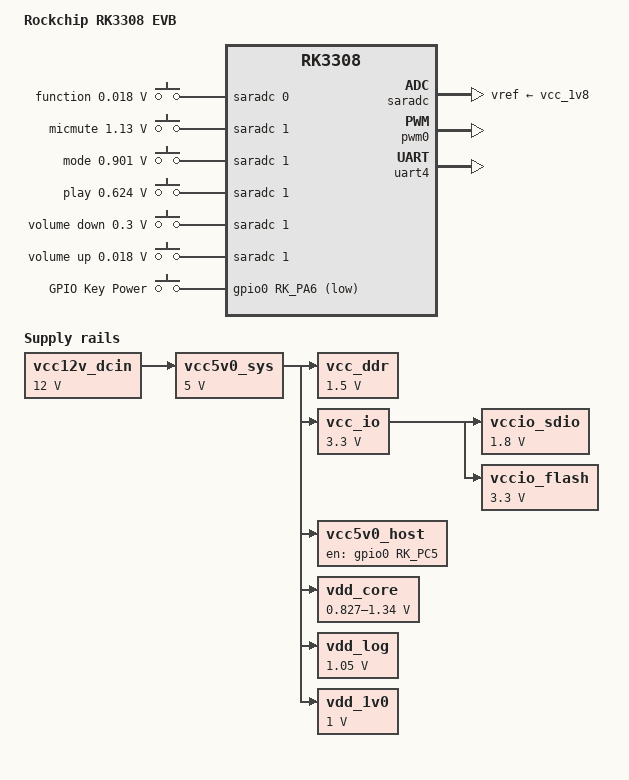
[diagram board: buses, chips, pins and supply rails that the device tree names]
// SPDX-License-Identifier: (GPL-2.0+ OR MIT)
/*
 * Copyright (c) 2019 Fuzhou Rockchip Electronics Co., Ltd
 *
 */

/dts-v1/;
#include <dt-bindings/input/input.h>
#include "rk3308.dtsi"

/ {
	model = "Rockchip RK3308 EVB";
	compatible = "rockchip,rk3308-evb", "rockchip,rk3308";

	chosen {
		stdout-path = "serial4:1500000n8";
	};

	adc-keys0 {
		compatible = "adc-keys";
		io-channels = <&saradc 0>;
		io-channel-names = "buttons";
		poll-interval = <100>;
		keyup-threshold-microvolt = <1800000>;

		func-key {
			linux,code = <KEY_FN>;
			label = "function";
			press-threshold-microvolt = <18000>;
		};
	};

	adc-keys1 {
		compatible = "adc-keys";
		io-channels = <&saradc 1>;
		io-channel-names = "buttons";
		poll-interval = <100>;
		keyup-threshold-microvolt = <1800000>;

		esc-key {
			linux,code = <KEY_MICMUTE>;
			label = "micmute";
			press-threshold-microvolt = <1130000>;
		};

		home-key {
			linux,code = <KEY_MODE>;
			label = "mode";
			press-threshold-microvolt = <901000>;
		};

		menu-key {
			linux,code = <KEY_PLAY>;
			label = "play";
			press-threshold-microvolt = <624000>;
		};

		vol-down-key {
			linux,code = <KEY_VOLUMEDOWN>;
			label = "volume down";
			press-threshold-microvolt = <300000>;
		};

		vol-up-key {
			linux,code = <KEY_VOLUMEUP>;
			label = "volume up";
			press-threshold-microvolt = <18000>;
		};
	};

	gpio-keys {
		compatible = "gpio-keys";
		autorepeat;

		pinctrl-names = "default";
		pinctrl-0 = <&pwr_key>;

		power {
			gpios = <&gpio0 RK_PA6 GPIO_ACTIVE_LOW>;
			linux,code = <KEY_POWER>;
			label = "GPIO Key Power";
			debounce-interval = <100>;
			wakeup-source;
		};
	};

	vcc12v_dcin: vcc12v-dcin {
		compatible = "regulator-fixed";
		regulator-name = "vcc12v_dcin";
		regulator-min-microvolt = <12000000>;
		regulator-max-microvolt = <12000000>;
		regulator-always-on;
		regulator-boot-on;
	};

	vcc5v0_sys: vcc5v0-sys {
		compatible = "regulator-fixed";
		regulator-name = "vcc5v0_sys";
		regulator-min-microvolt = <5000000>;
		regulator-max-microvolt = <5000000>;
		regulator-always-on;
		regulator-boot-on;
		vin-supply = <&vcc12v_dcin>;
	};

	vccio_sdio: vcc_1v8: vcc-1v8 {
		compatible = "regulator-fixed";
		regulator-name = "vcc_1v8";
		regulator-min-microvolt = <1800000>;
		regulator-max-microvolt = <1800000>;
		regulator-always-on;
		regulator-boot-on;
		vin-supply = <&vcc_io>;
	};

	vcc_ddr: vcc-ddr {
		compatible = "regulator-fixed";
		regulator-name = "vcc_ddr";
		regulator-min-microvolt = <1500000>;
		regulator-max-microvolt = <1500000>;
		regulator-always-on;
		regulator-boot-on;
		vin-supply = <&vcc5v0_sys>;
	};

	vcc_io: vcc-io {
		compatible = "regulator-fixed";
		regulator-name = "vcc_io";
		regulator-min-microvolt = <3300000>;
		regulator-max-microvolt = <3300000>;
		regulator-always-on;
		regulator-boot-on;
		vin-supply = <&vcc5v0_sys>;
	};

	vccio_flash: vccio-flash {
		compatible = "regulator-fixed";
		regulator-name = "vccio_flash";
		regulator-min-microvolt = <3300000>;
		regulator-max-microvolt = <3300000>;
		regulator-always-on;
		regulator-boot-on;
		vin-supply = <&vcc_io>;
	};

	vcc5v0_host: vcc5v0-host {
		compatible = "regulator-fixed";
		gpio = <&gpio0 RK_PC5 GPIO_ACTIVE_HIGH>;
		enable-active-high;
		pinctrl-names = "default";
		pinctrl-0 = <&usb_drv>;
		regulator-name = "vbus_host";
		vin-supply = <&vcc5v0_sys>;
	};

	vdd_core: vdd-core {
		compatible = "pwm-regulator";
		pwms = <&pwm0 0 5000 1>;
		regulator-name = "vdd_core";
		regulator-min-microvolt = <827000>;
		regulator-max-microvolt = <1340000>;
		regulator-always-on;
		regulator-boot-on;
		regulator-settling-time-up-us = <250>;
		pwm-supply = <&vcc5v0_sys>;
	};

	vdd_log: vdd-log {
		compatible = "regulator-fixed";
		regulator-name = "vdd_log";
		regulator-min-microvolt = <1050000>;
		regulator-max-microvolt = <1050000>;
		regulator-always-on;
		regulator-boot-on;
		vin-supply = <&vcc5v0_sys>;
	};

	vdd_1v0: vdd-1v0 {
		compatible = "regulator-fixed";
		regulator-name = "vdd_1v0";
		regulator-min-microvolt = <1000000>;
		regulator-max-microvolt = <1000000>;
		regulator-always-on;
		regulator-boot-on;
		vin-supply = <&vcc5v0_sys>;
	};
};

&cpu0 {
	cpu-supply = <&vdd_core>;
};

&saradc {
	status = "okay";
	vref-supply = <&vcc_1v8>;
};

&pinctrl {
	pinctrl-names = "default";
	pinctrl-0 = <&rtc_32k>;

	buttons {
		pwr_key: pwr-key {
			rockchip,pins = <0 RK_PA6 0 &pcfg_pull_up>;
		};
	};

	usb {
		usb_drv: usb-drv {
			rockchip,pins = <0 RK_PC5 0 &pcfg_pull_none>;
		};
	};

	sdio-pwrseq {
		wifi_enable_h: wifi-enable-h {
			rockchip,pins = <0 RK_PA2 0 &pcfg_pull_none>;
		};
	};
};

&pwm0 {
	status = "okay";
	pinctrl-0 = <&pwm0_pin_pull_down>;
};

&uart4 {
	pinctrl-names = "default";
	pinctrl-0 = <&uart4_xfer>;
	status = "okay";
};
